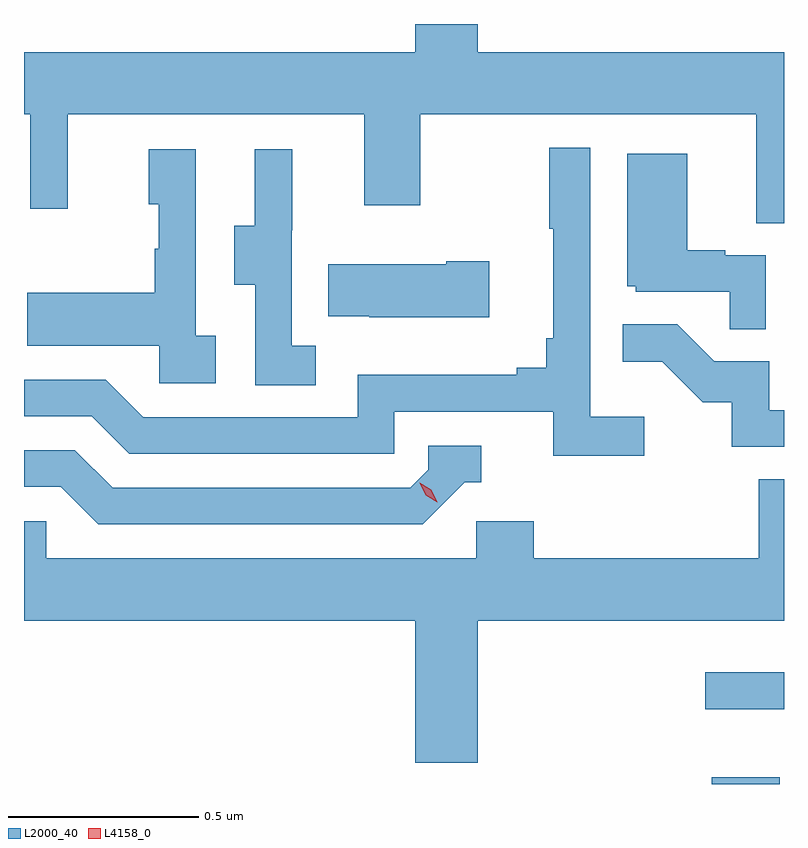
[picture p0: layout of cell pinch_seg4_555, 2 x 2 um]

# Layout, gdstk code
import gdstk
lib = gdstk.Library(unit=1e-6, precision=1e-09)
def R(c, l, rs):  # rectangles x0, y0, x1, y1
    for r in rs: c.add(gdstk.rectangle(r[:2], r[2:], *l))
def P(c, l, *ps):  # polygons
    for p in ps: c.add(gdstk.Polygon(p, *l))
L2000_40 = (2000, 40)
L4158_0 = (4158, 0)

pinch_seg4_555 = lib.new_cell('pinch_seg4_555')
R(pinch_seg4_555, L2000_40, [(1136.816,777.742,1136.995,777.76), (1136.799,777.939,1137.006,778.036)])
P(pinch_seg4_555, L2000_40, [(1137.006,779.668),(1136.2,779.668),(1136.2,779.742),(1136.036,779.742),(1136.036,779.668),(1135.006,779.668),(1135.006,779.504),(1135.023,779.504),(1135.023,779.256),(1135.121,779.256),(1135.121,779.504),(1135.901,779.504),(1135.901,779.265),(1136.049,779.265),(1136.049,779.504),(1136.933,779.504),(1136.933,779.218),(1137.006,779.218)],
  [(1136.638,778.708),(1136.496,778.708),(1136.496,779.416),(1136.388,779.416),(1136.388,779.203),(1136.399,779.203),(1136.399,778.915),(1136.38,778.915),(1136.38,778.838),(1136.303,778.838),(1136.303,778.819),(1135.884,778.819),(1135.884,778.707),(1135.32,778.707),(1135.221,778.806),(1135.006,778.806),(1135.006,778.71),(1135.184,778.71),(1135.283,778.611),(1135.98,778.611),(1135.98,778.722),(1136.399,778.722),(1136.399,778.606),(1136.638,778.606)],
  [(1135.51,778.922),(1135.458,778.922),(1135.458,779.413),(1135.334,779.413),(1135.334,779.268),(1135.36,779.268),(1135.36,779.15),(1135.35,779.15),(1135.35,779.035),(1135.015,779.035),(1135.015,778.895),(1135.362,778.895),(1135.362,778.797),(1135.51,778.797)],
  [(1135.774,778.895),(1135.71,778.895),(1135.71,779.199),(1135.712,779.199),(1135.712,779.413),(1135.613,779.413),(1135.613,779.211),(1135.559,779.211),(1135.559,779.056),(1135.614,779.056),(1135.614,778.792),(1135.774,778.792)],
  [(1136.958,779.133),(1136.852,779.133),(1136.852,779.146),(1136.752,779.146),(1136.752,779.401),(1136.594,779.401),(1136.594,779.052),(1136.616,779.052),(1136.616,779.037),(1136.863,779.037),(1136.863,778.939),(1136.958,778.939)],
  [(1136.23,779.118),(1136.117,779.118),(1136.117,779.11),(1135.807,779.11),(1135.807,778.973),(1135.915,778.973),(1135.915,778.97),(1136.23,778.97)],
  [(1137.006,778.725),(1136.967,778.725),(1136.967,778.854),(1136.823,778.854),(1136.725,778.952),(1136.581,778.952),(1136.581,778.853),(1136.685,778.853),(1136.792,778.746),(1136.869,778.746),(1136.869,778.629),(1137.006,778.629)],
  [(1136.166,778.536),(1136.209,778.536),(1136.209,778.632),(1136.07,778.632),(1136.07,778.569),(1136.022,778.521),(1135.239,778.521),(1135.14,778.62),(1135.006,778.62),(1135.006,778.524),(1135.103,778.524),(1135.202,778.425),(1136.055,778.425)],
  [(1136.2,778.172),(1137.006,778.172),(1137.006,778.544),(1136.939,778.544),(1136.939,778.336),(1136.348,778.336),(1136.348,778.434),(1136.196,778.434),(1136.196,778.336),(1135.065,778.336),(1135.065,778.434),(1135.006,778.434),(1135.006,778.172),(1136.036,778.172),(1136.036,777.798),(1136.2,777.798)])
P(pinch_seg4_555, L4158_0, [(1136.093,778.483),(1136.063,778.502),(1136.047,778.535),(1136.047,778.535),(1136.047,778.535),(1136.078,778.516),(1136.094,778.484),(1136.094,778.483)])

lib.write_gds('pinch_seg4_555.gds')
